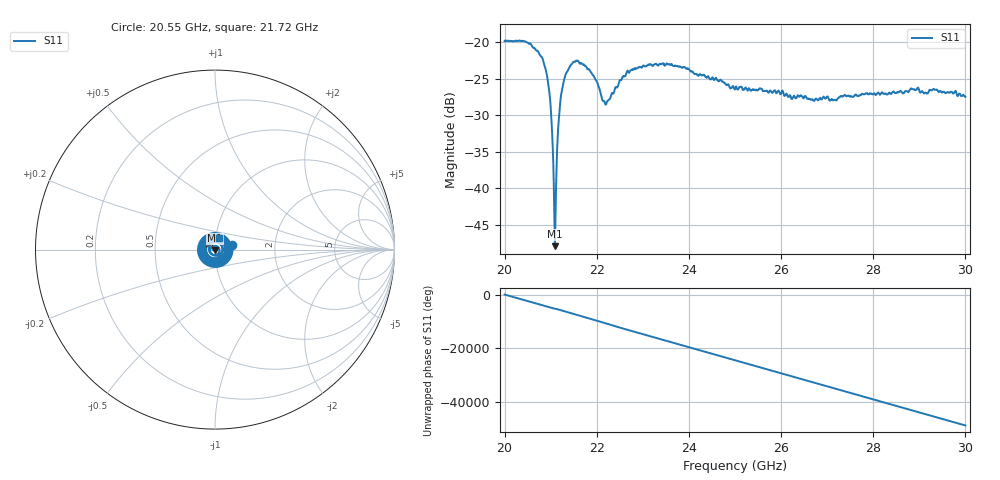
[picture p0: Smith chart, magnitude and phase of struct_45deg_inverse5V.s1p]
#  HZ  S  RI  R  50.00
! Rohde & Schwarz ZVA40 4Ports - Version 3.90 - 1145.1110k42 SN: 100403
! Date: 2023-09-30 08:18:42
! Measurement: S12
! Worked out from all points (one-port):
!   5001 points, 20 GHz to 30 GHz, reference 50 ohm
!   lowest |S11| = -48.0 dB at 21.09 GHz (marker M1), VSWR 1.01, Z = 50 - j0.399 ohm
!   |S11| at or under -10 dB: start of sweep to end of sweep
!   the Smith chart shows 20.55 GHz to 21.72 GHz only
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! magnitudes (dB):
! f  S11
! 20 GHz  -19.9
! 20.53 GHz  -20.2
! 20.84 GHz  -22.7
! 20.92 GHz  -24.7
! 20.98 GHz  -27.1
! 21.02 GHz  -30.6
! 21.06 GHz  -38.0
! 21.09 GHz  -48.0
! 21.12 GHz  -38.0
! 21.16 GHz  -32.0
! 21.19 GHz  -29.9
! 21.25 GHz  -26.4
! 21.36 GHz  -24.1
! 21.55 GHz  -22.6
! 21.89 GHz  -24.3
! 22.17 GHz  -28.3
! 22.24 GHz  -28.1
! 22.5 GHz  -25.2
! 22.69 GHz  -24.1
! 22.98 GHz  -23.5
! 23.75 GHz  -23.3
! 25 GHz  -26.5
! 26.25 GHz  -27.7
! 27.16 GHz  -27.9
! 27.5 GHz  -27.5
! 28.75 GHz  -26.8
! 29.34 GHz  -26.5
! 30 GHz  -27.5
